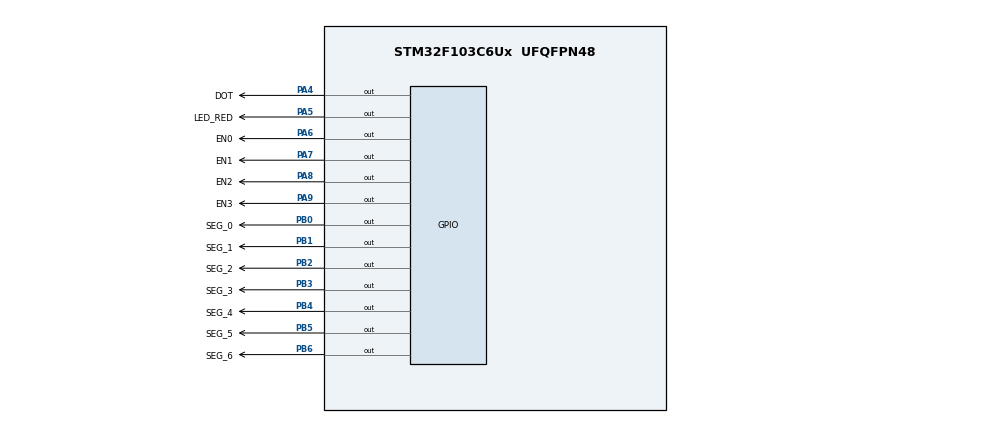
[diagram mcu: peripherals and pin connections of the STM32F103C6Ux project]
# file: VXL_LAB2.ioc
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Mcu.Family=STM32F1
Mcu.Name=STM32F103C6Ux
Mcu.Package=UFQFPN48
NVIC.PriorityGroup=NVIC_PRIORITYGROUP_4
NVIC.TIM2_IRQn=true\:0\:0\:false\:false\:true\:true\:true
PA4.GPIO_Label=DOT
PA4.Signal=GPIO_Output
PA5.GPIO_Label=LED_RED\\
PA5.Signal=GPIO_Output
PA6.GPIO_Label=EN0
PA6.Signal=GPIO_Output
PA7.GPIO_Label=EN1
PA7.Signal=GPIO_Output
PA8.GPIO_Label=EN2
PA8.Signal=GPIO_Output
PA9.GPIO_Label=EN3
PA9.Signal=GPIO_Output
PB0.GPIO_Label=SEG_0
PB0.Signal=GPIO_Output
PB1.GPIO_Label=SEG_1
PB1.Signal=GPIO_Output
PB2.GPIO_Label=SEG_2
PB2.Signal=GPIO_Output
PB3.GPIO_Label=SEG_3
PB3.Signal=GPIO_Output
PB4.GPIO_Label=SEG_4
PB4.Signal=GPIO_Output
PB5.GPIO_Label=SEG_5
PB5.Signal=GPIO_Output
PB6.GPIO_Label=SEG_6
PB6.Signal=GPIO_Output
ProjectManager.HeapSize=0x200
ProjectManager.StackSize=0x400
ProjectManager.TargetToolchain=STM32CubeIDE
RCC.APB1Freq_Value=8000000
RCC.APB2Freq_Value=8000000
TIM2.Period=9
TIM2.Prescaler=7999
VP_SYS_VS_ND.Mode=No_Debug
VP_TIM2_VS_ClockSourceINT.Mode=Internal
board=custom

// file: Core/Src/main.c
/* USER CODE BEGIN Header */
/**
  ******************************************************************************
  * @file           : main.c
  * @brief          : Main program body for Exercise 1
  ******************************************************************************
  * @attention
  *
  * <h2><center>&copy; Copyright (c) 2024 STMicroelectronics.
  * All rights reserved.</center></h2>
  *
  * This software component is licensed by ST under BSD 3-Clause license,
  * the "License"; You may not use this file except in compliance with the
  * License. You may obtain a copy of the License at:
  *                        opensource.org/licenses/BSD-3-Clause
  *
  ******************************************************************************
  */
/* USER CODE END Header */
#include "main.h"

/* USER CODE BEGIN PD */
#define MAX_LED 2
/* USER CODE END PD */

TIM_HandleTypeDef htim2;

/* USER CODE BEGIN PV */
int count = 50;
int STATE = 0;
/* USER CODE END PV */

void SystemClock_Config(void);
static void MX_GPIO_Init(void);
static void MX_TIM2_Init(void);
/* USER CODE BEGIN PFP */
void display7SEG(int num);
/* USER CODE END PFP */

int main(void)
{

  /* MCU Configuration--------------------------------------------------------*/

  /* Reset of all peripherals, Initializes the Flash interface and the Systick. */
  HAL_Init();

  /* Configure the system clock */
  SystemClock_Config();

  /* Initialize all configured peripherals */
  MX_GPIO_Init();
  MX_TIM2_Init();
  /* USER CODE BEGIN 2 */
  HAL_TIM_Base_Start_IT(&htim2);
  /* USER CODE END 2 */

  /* Infinite loop */
  /* USER CODE BEGIN WHILE */
  while (1)
  {

    if (count == 0)
    {
      if (STATE == 0)
      {
        display7SEG(1);  // Display number "1" on the first 7-segment LED
        HAL_GPIO_WritePin(EN0_GPIO_Port, EN0_Pin, GPIO_PIN_RESET);
        HAL_GPIO_WritePin(EN1_GPIO_Port, EN1_Pin, GPIO_PIN_SET);
        STATE = 1;
      }
      else if (STATE == 1)
      {
        display7SEG(2);  // Display number "2" on the second 7-segment LED
        HAL_GPIO_WritePin(EN0_GPIO_Port, EN0_Pin, GPIO_PIN_SET);
        HAL_GPIO_WritePin(EN1_GPIO_Port, EN1_Pin, GPIO_PIN_RESET);
        STATE = 0;
      }
      count = 50;  // Reset count to start the next interval
    }
    /* USER CODE END WHILE */

  }
}

void SystemClock_Config(void)
{
  RCC_OscInitTypeDef RCC_OscInitStruct = {0};
  RCC_ClkInitTypeDef RCC_ClkInitStruct = {0};

  /** Initializes the RCC Oscillators according to the specified parameters
  * in the RCC_OscInitTypeDef structure.
  */
  RCC_OscInitStruct.OscillatorType = RCC_OSCILLATORTYPE_HSI;
  RCC_OscInitStruct.HSIState = RCC_HSI_ON;
  RCC_OscInitStruct.HSICalibrationValue = RCC_HSICALIBRATION_DEFAULT;
  RCC_OscInitStruct.PLL.PLLState = RCC_PLL_NONE;
  if (HAL_RCC_OscConfig(&RCC_OscInitStruct) != HAL_OK)
  {
    Error_Handler();
  }
  /** Initializes the CPU, AHB and APB buses clocks
  */
  RCC_ClkInitStruct.ClockType = RCC_CLOCKTYPE_HCLK|RCC_CLOCKTYPE_SYSCLK
                              |RCC_CLOCKTYPE_PCLK1|RCC_CLOCKTYPE_PCLK2;
  RCC_ClkInitStruct.SYSCLKSource = RCC_SYSCLKSOURCE_HSI;
  RCC_ClkInitStruct.AHBCLKDivider = RCC_SYSCLK_DIV1;
  RCC_ClkInitStruct.APB1CLKDivider = RCC_HCLK_DIV1;
  RCC_ClkInitStruct.APB2CLKDivider = RCC_HCLK_DIV1;

  if (HAL_RCC_ClockConfig(&RCC_ClkInitStruct, FLASH_LATENCY_0) != HAL_OK)
  {
    Error_Handler();
  }
}

static void MX_TIM2_Init(void)
{

  TIM_ClockConfigTypeDef sClockSourceConfig = {0};
  TIM_MasterConfigTypeDef sMasterConfig = {0};

  htim2.Instance = TIM2;
  htim2.Init.Prescaler = 7999;
  htim2.Init.CounterMode = TIM_COUNTERMODE_UP;
  htim2.Init.Period = 9;
  htim2.Init.ClockDivision = TIM_CLOCKDIVISION_DIV1;
  htim2.Init.AutoReloadPreload = TIM_AUTORELOAD_PRELOAD_DISABLE;
  if (HAL_TIM_Base_Init(&htim2) != HAL_OK)
  {
    Error_Handler();
  }
  sClockSourceConfig.ClockSource = TIM_CLOCKSOURCE_INTERNAL;
  if (HAL_TIM_ConfigClockSource(&htim2, &sClockSourceConfig) != HAL_OK)
  {
    Error_Handler();
  }
  sMasterConfig.MasterOutputTrigger = TIM_TRGO_RESET;
  sMasterConfig.MasterSlaveMode = TIM_MASTERSLAVEMODE_DISABLE;
  if (HAL_TIMEx_MasterConfigSynchronization(&htim2, &sMasterConfig) != HAL_OK)
  {
    Error_Handler();
  }

}

static void MX_GPIO_Init(void)
{
  GPIO_InitTypeDef GPIO_InitStruct = {0};

  /* GPIO Ports Clock Enable */
  __HAL_RCC_GPIOA_CLK_ENABLE();
  __HAL_RCC_GPIOB_CLK_ENABLE();

  /*Configure GPIO pin Output Level */
  HAL_GPIO_WritePin(GPIOA, DOT_Pin|LED_RED__Pin|EN0_Pin|EN1_Pin
                          |EN2_Pin|EN3_Pin, GPIO_PIN_RESET);

  /*Configure GPIO pin Output Level */
  HAL_GPIO_WritePin(GPIOB, SEG_0_Pin|SEG_1_Pin|SEG_2_Pin|SEG_3_Pin
                          |SEG_4_Pin|SEG_5_Pin|SEG_6_Pin, GPIO_PIN_RESET);

  /*Configure GPIO pins : DOT_Pin LED_RED__Pin EN0_Pin EN1_Pin
                           EN2_Pin EN3_Pin */
  GPIO_InitStruct.Pin = DOT_Pin|LED_RED__Pin|EN0_Pin|EN1_Pin
                          |EN2_Pin|EN3_Pin;
  GPIO_InitStruct.Mode = GPIO_MODE_OUTPUT_PP;
  GPIO_InitStruct.Pull = GPIO_NOPULL;
  GPIO_InitStruct.Speed = GPIO_SPEED_FREQ_LOW;
  HAL_GPIO_Init(GPIOA, &GPIO_InitStruct);

  /*Configure GPIO pins : SEG_0_Pin SEG_1_Pin SEG_2_Pin SEG_3_Pin
                           SEG_4_Pin SEG_5_Pin SEG_6_Pin */
  GPIO_InitStruct.Pin = SEG_0_Pin|SEG_1_Pin|SEG_2_Pin|SEG_3_Pin
                          |SEG_4_Pin|SEG_5_Pin|SEG_6_Pin;
  GPIO_InitStruct.Mode = GPIO_MODE_OUTPUT_PP;
  GPIO_InitStruct.Pull = GPIO_NOPULL;
  GPIO_InitStruct.Speed = GPIO_SPEED_FREQ_LOW;
  HAL_GPIO_Init(GPIOB, &GPIO_InitStruct);

}

/* USER CODE BEGIN 4 */
void HAL_TIM_PeriodElapsedCallback(TIM_HandleTypeDef *htim)
{
  if (htim->Instance == TIM2)
  {
    if (count != 0)
    {
      count--;  // Decrement the count every 10ms
    }
  }
}

void display7SEG(int num)
{
  switch (num)
  {
    case 0:
      HAL_GPIO_WritePin(GPIOB, SEG_0_Pin | SEG_1_Pin | SEG_2_Pin | SEG_3_Pin | SEG_4_Pin | SEG_5_Pin, GPIO_PIN_RESET);
      HAL_GPIO_WritePin(GPIOB, SEG_6_Pin, GPIO_PIN_SET);
      break;
    case 1:
      HAL_GPIO_WritePin(GPIOB, SEG_1_Pin | SEG_2_Pin, GPIO_PIN_RESET);
      HAL_GPIO_WritePin(GPIOB, SEG_0_Pin | SEG_3_Pin | SEG_4_Pin | SEG_5_Pin | SEG_6_Pin, GPIO_PIN_SET);
      break;
    case 2:
      HAL_GPIO_WritePin(GPIOB, SEG_0_Pin | SEG_1_Pin | SEG_3_Pin | SEG_4_Pin | SEG_6_Pin, GPIO_PIN_RESET); // Các đoạn cần sáng
      HAL_GPIO_WritePin(GPIOB, SEG_2_Pin | SEG_5_Pin, GPIO_PIN_SET); // Các đoạn cần tắt
      break;
    // Add cases for other numbers as needed
    default:
      HAL_GPIO_WritePin(GPIOB, SEG_0_Pin | SEG_1_Pin | SEG_2_Pin | SEG_3_Pin | SEG_4_Pin | SEG_5_Pin | SEG_6_Pin, GPIO_PIN_SET);
      break;
  }
}

/* USER CODE END 4 */

void Error_Handler(void)
{
  __disable_irq();
  while (1)
  {
  }
}

/************************ (C) COPYRIGHT STMicroelectronics *****END OF FILE****/
